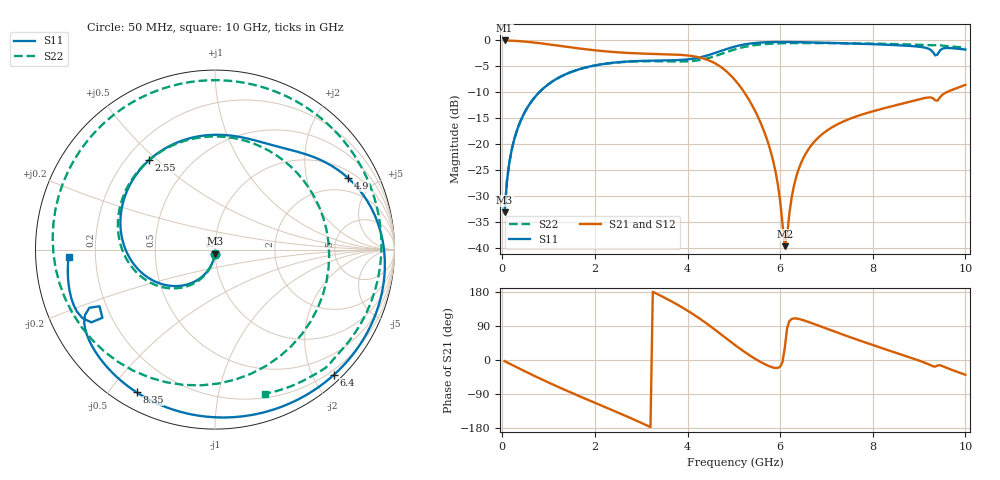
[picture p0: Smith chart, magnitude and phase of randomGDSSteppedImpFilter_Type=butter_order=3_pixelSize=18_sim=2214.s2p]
! freq	dB(S11)	phase(S11)	dB(S12)	phase(S12)
!  dB(S21)	phase(S21)	dB(S22)	phase(S22)
!S-par simulation data
#  GHz  S  DB  R 50
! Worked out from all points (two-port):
!   200 points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, 50 MHz to 10 GHz, reference 50 ohm
!   highest |S21| = -0.01 dB at 50 MHz (marker M1); lowest = -39.6 dB at 6.1 GHz (marker M2)
!   |S21| within 3 dB of the highest: start of sweep to 4.096 GHz
!   lowest |S11| = -33.1 dB at 50 MHz (marker M3), VSWR 1.05, Z = 49.8 - j2.19 ohm
!   |S11| at or under -10 dB: start of sweep to 796.5 MHz
!   |S22| runs from -33.1 to -0.5 dB; largest |S21 - S12| = 0
!   S11 on the Smith chart (normalised r, x): 50 MHz: 1.00, -0.04; 2.55 GHz: 0.29, +0.47; 4.9 GHz: 1.28, +3.52; 6.4 GHz: 0.12, -2.32; 8.35 GHz: 0.07, -0.59; 10 GHz: 0.10, -0.02
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0.05  -33.14 -93.2  -0.01 -3.1  -0.01 -3.1  -33.14 -93.0
0.2  -21.21 -103.2  -0.05 -12.4  -0.05 -12.4  -21.21 -102.3
0.5  -13.58 -122.1  -0.24 -30.5  -0.24 -30.5  -13.58 -120.0
1.1  -7.80 -157.9  -0.88 -65.1  -0.88 -65.1  -7.80 -153.5
1.75  -5.33 166.5  -1.65 -100.0  -1.65 -100.0  -5.34 172.4
2.55  -4.16 126.3  -2.33 -141.5  -2.33 -141.5  -4.20 129.7
3.4  -3.88 87.4  -2.63 170.9  -2.63 170.9  -4.02 73.8
3.8  -3.79 71.5  -2.75 144.8  -2.75 144.8  -4.07 37.7
4.25  -3.30 55.6  -3.26 110.4  -3.26 110.4  -3.80 -15.9
4.65  -2.25 40.3  -4.70 74.6  -4.70 74.6  -2.85 -73.7
4.9  -1.50 28.4  -6.46 51.1  -6.46 51.1  -2.07 -110.2
5.05  -1.12 20.5  -7.91 37.3  -7.91 37.3  -1.66 -130.8
5.4  -0.55 1.5  -12.59 7.7  -12.59 7.7  -0.97 -173.3
5.8  -0.32 -19.1  -21.53 -18.0  -21.53 -18.0  -0.63 147.5
5.95  -0.30 -26.4  -27.75 -20.8  -27.75 -20.8  -0.57 134.9
6.1  -0.30 -33.3  -39.64 32.1  -39.64 32.1  -0.53 123.1
6.4  -0.34 -46.5  -24.79 108.4  -24.79 108.4  -0.50 101.7
6.7  -0.39 -58.9  -19.91 96.6  -19.91 96.6  -0.50 82.4
7.55  -0.60 -90.8  -14.95 58.6  -14.95 58.6  -0.56 35.2
8.35  -0.85 -118.7  -12.82 25.2  -12.82 25.2  -0.67 -2.8
9.4  -2.70 -148.8  -11.59 -14.4  -11.59 -14.4  -0.90 -46.8
10  -1.76 -177.3  -8.56 -39.1  -8.56 -39.1  -1.42 -70.7
